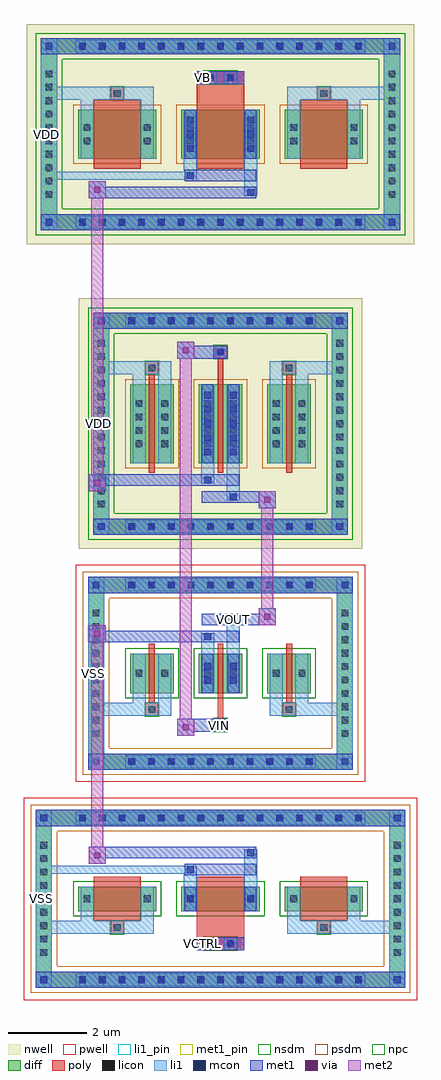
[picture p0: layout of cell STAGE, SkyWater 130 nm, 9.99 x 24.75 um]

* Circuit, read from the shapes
.subckt STAGE VB VCTRL VDD VIN VOUT VSS
XM1 VSS VSS VSS VSUBS sky130_fd_pr__nfet_01v8 w=0.62 l=1.2 m=2
XM2 VSS VSS VSS VSUBS sky130_fd_pr__nfet_01v8 w=1 l=0.15 m=2
XM3 n1 VCTRL VSS VSUBS sky130_fd_pr__nfet_01v8 w=0.62 l=1.2
XM4 VOUT VIN n1 VSUBS sky130_fd_pr__nfet_01v8 w=1 l=0.15
XM5 VDD VDD VDD n2 sky130_fd_pr__pfet_01v8 w=1.24 l=1.2 m=2
XM6 VDD VDD VDD n3 sky130_fd_pr__pfet_01v8 w=2 l=0.15 m=2
XM7 n4 VB VDD n2 sky130_fd_pr__pfet_01v8 w=1.24 l=1.2
XM8 VOUT VIN n4 n3 sky130_fd_pr__pfet_01v8 w=2 l=0.15
.ends

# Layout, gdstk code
import gdstk
lib = gdstk.Library(unit=1e-6, precision=5e-09)
def R(c, l, rs):  # rectangles x0, y0, x1, y1
    for r in rs: c.add(gdstk.rectangle(r[:2], r[2:], *l))
def A(c, l, x, y, w, h, nx, ny, dx, dy):  # array of equal rectangles
    R(c, l, [(x+i*dx, y+j*dy, x+i*dx+w, y+j*dy+h) for i in range(nx) for j in range(ny)])
def P(c, l, *ps):  # polygons
    for p in ps: c.add(gdstk.Polygon(p, *l))
nwell = (64, 20)
pwell = (64, 44)
diff = (65, 20)
poly = (66, 20)
licon = (66, 44)
li1_pin = (67, 16)
li1 = (67, 20)
mcon = (67, 44)
met1_pin = (68, 16)
met1 = (68, 20)
via = (68, 44)
met2 = (69, 20)
nsdm = (93, 44)
psdm = (94, 20)
npc = (95, 20)

stage = lib.new_cell('STAGE')
R(stage, nwell, [(-3.59,8.875,3.59,15.225), (-3.41,9.055,3.41,15.045), (-4.915,16.595,4.915,22.185), (-4.735,16.775,4.735,22.005)])
R(stage, pwell, [(-4.995,-2.565,4.995,2.565), (-3.67,2.965,3.67,8.475)])
A(stage, diff, -3.705, -2.255, 0.41, 0.41, 15, 2, 0.5, 4.1)
A(stage, diff, -4.685, -1.565, 0.41, 0.41, 1, 9, 0, 0.34)
A(stage, diff, 4.275, -1.565, 0.41, 0.41, 1, 9, 0, 0.34)
A(stage, diff, -3.61, -0.31, 1.98, 0.62, 3, 1, 2.62, 0)
A(stage, diff, -2.455, 3.275, 0.41, 0.41, 10, 2, 0.5, 4.48)
A(stage, diff, -3.36, 3.985, 0.41, 0.41, 1, 10, 0, 0.34)
A(stage, diff, 2.95, 3.985, 0.41, 0.41, 1, 10, 0, 0.34)
A(stage, diff, -2.29, 5.22, 1.1, 1, 3, 1, 1.74, 0)
A(stage, diff, -2.455, 9.235, 0.41, 0.41, 10, 2, 0.5, 5.22)
A(stage, diff, -3.23, 9.805, 0.41, 0.41, 1, 13, 0, 0.34)
A(stage, diff, 2.82, 9.805, 0.41, 0.41, 1, 13, 0, 0.34)
A(stage, diff, -2.29, 11.05, 1.1, 2, 3, 1, 1.74, 0)
A(stage, diff, -3.705, 16.955, 0.41, 0.41, 15, 2, 0.5, 4.46)
A(stage, diff, -4.555, 17.655, 0.41, 0.41, 1, 10, 0, 0.34)
A(stage, diff, 4.145, 17.655, 0.41, 0.41, 1, 10, 0, 0.34)
A(stage, diff, -3.61, 18.77, 1.98, 1.24, 3, 1, 2.62, 0)
R(stage, diff, [(-3.705,-2.255,3.705,-1.845), (-4.685,-1.565,-4.275,1.565), (4.275,-1.565,4.685,1.565), (-3.705,1.845,3.705,2.255), (-2.455,3.275,2.455,3.685), (-3.36,3.985,-2.95,7.455), (2.95,3.985,3.36,7.455), (-2.455,7.755,2.455,8.165), (-2.455,9.235,2.455,9.645), (-3.23,9.805,-2.82,14.295), (2.82,9.805,3.23,14.295), (-2.455,14.455,2.455,14.865), (-3.705,16.955,3.705,17.365), (-4.555,17.655,-4.145,21.125), (4.145,17.655,4.555,21.125), (-3.705,21.415,3.705,21.825)])
P(stage, diff, [(4.685,2.255),(-4.685,2.255),(-4.685,-1.845),(-4.275,-1.845),(-4.275,1.845),(4.275,1.845),(4.275,-1.845),(-4.275,-1.845),(-4.685,-1.845),(-4.685,-2.255),(4.685,-2.255)],
  [(4.555,16.955),(-4.555,16.955),(-4.555,21.415),(-4.145,21.415),(-4.145,17.365),(4.145,17.365),(4.145,21.415),(-4.145,21.415),(-4.555,21.415),(-4.555,21.825),(4.555,21.825)],
  [(3.23,9.235),(-3.23,9.235),(-3.23,14.455),(-2.82,14.455),(-2.82,9.645),(2.82,9.645),(2.82,14.455),(-2.82,14.455),(-3.23,14.455),(-3.23,14.865),(3.23,14.865)],
  [(3.36,8.165),(-3.36,8.165),(-3.36,3.685),(-2.95,3.685),(-2.95,7.755),(2.95,7.755),(2.95,3.685),(-2.95,3.685),(-3.36,3.685),(-3.36,3.275),(3.36,3.275)])
A(stage, poly, -3.22, -0.56, 1.2, 1.12, 3, 1, 2.62, 0)
A(stage, poly, -1.815, 4.97, 0.15, 1.5, 3, 1, 1.74, 0)
A(stage, poly, -1.815, 10.8, 0.15, 2.5, 3, 1, 1.74, 0)
A(stage, poly, -3.22, 18.52, 1.2, 1.74, 3, 1, 2.62, 0)
R(stage, poly, [(-0.6,-1.3,0.6,-0.97), (-0.415,-1.3,-0.085,-0.97), (0.085,-1.3,0.415,-0.97), (-0.6,-0.97,0.6,-0.56), (-2.785,-0.89,-2.455,-0.56), (-2.785,-0.89,-2.455,-0.56), (2.455,-0.89,2.785,-0.56), (2.455,-0.89,2.785,-0.56), (-0.165,4.24,0.165,4.57), (-0.165,4.24,0.165,4.57), (-0.075,4.57,0.075,4.97), (-1.905,4.64,-1.575,4.97), (-1.905,4.64,-1.575,4.97), (1.575,4.64,1.905,4.97), (1.575,4.64,1.905,4.97), (-1.905,13.3,-1.575,13.63), (-1.905,13.3,-1.575,13.63), (-0.075,13.3,0.075,13.7), (1.575,13.3,1.905,13.63), (1.575,13.3,1.905,13.63), (-0.165,13.7,0.165,14.03), (-0.165,13.7,0.165,14.03), (-2.785,20.26,-2.455,20.59), (-2.785,20.26,-2.455,20.59), (-0.6,20.26,0.6,20.66), (2.455,20.26,2.785,20.59), (2.455,20.26,2.785,20.59), (-0.6,20.66,0.6,20.99), (-0.415,20.66,-0.085,20.99), (0.085,20.66,0.415,20.99)])
A(stage, licon, -3.585, -2.135, 0.17, 0.17, 15, 2, 0.5, 4.1)
A(stage, licon, -4.565, -1.445, 0.17, 0.17, 1, 9, 0, 0.34)
A(stage, licon, 4.395, -1.445, 0.17, 0.17, 1, 9, 0, 0.34)
A(stage, licon, -2.335, 3.395, 0.17, 0.17, 10, 2, 0.5, 4.48)
A(stage, licon, -3.24, 4.105, 0.17, 0.17, 1, 10, 0, 0.34)
A(stage, licon, 3.07, 4.105, 0.17, 0.17, 1, 10, 0, 0.34)
A(stage, licon, -2.335, 9.355, 0.17, 0.17, 10, 2, 0.5, 5.22)
A(stage, licon, -3.11, 9.925, 0.17, 0.17, 1, 13, 0, 0.34)
A(stage, licon, 2.94, 9.925, 0.17, 0.17, 1, 13, 0, 0.34)
A(stage, licon, -2.15, 11.455, 0.17, 0.17, 1, 4, 0, 0.34)
A(stage, licon, -1.5, 11.455, 0.17, 0.17, 1, 4, 0, 0.34)
A(stage, licon, -0.41, 11.455, 0.17, 0.17, 1, 4, 0, 0.34)
A(stage, licon, 0.24, 11.455, 0.17, 0.17, 1, 4, 0, 0.34)
A(stage, licon, 1.33, 11.455, 0.17, 0.17, 1, 4, 0, 0.34)
A(stage, licon, 1.98, 11.455, 0.17, 0.17, 1, 4, 0, 0.34)
A(stage, licon, -3.585, 17.075, 0.17, 0.17, 15, 2, 0.5, 4.46)
A(stage, licon, -4.435, 17.775, 0.17, 0.17, 1, 10, 0, 0.34)
A(stage, licon, 4.265, 17.775, 0.17, 0.17, 1, 10, 0, 0.34)
R(stage, licon, [(-0.335,-1.22,-0.165,-1.05), (0.165,-1.22,0.335,-1.05), (-2.705,-0.81,-2.535,-0.64), (2.535,-0.81,2.705,-0.64), (-3.47,-0.085,-3.3,0.085), (-1.94,-0.085,-1.77,0.085), (-0.85,-0.085,-0.68,0.085), (0.68,-0.085,0.85,0.085), (1.77,-0.085,1.94,0.085), (3.3,-0.085,3.47,0.085), (-0.085,4.32,0.085,4.49), (-1.825,4.72,-1.655,4.89), (1.655,4.72,1.825,4.89), (-2.15,5.635,-1.98,5.805), (-1.5,5.635,-1.33,5.805), (-0.41,5.635,-0.24,5.805), (0.24,5.635,0.41,5.805), (1.33,5.635,1.5,5.805), (1.98,5.635,2.15,5.805), (-1.825,13.38,-1.655,13.55), (1.655,13.38,1.825,13.55), (-0.085,13.78,0.085,13.95), (-3.47,19.135,-3.3,19.305), (-1.94,19.135,-1.77,19.305), (-0.85,19.135,-0.68,19.305), (0.68,19.135,0.85,19.305), (1.77,19.135,1.94,19.305), (3.3,19.135,3.47,19.305), (-3.47,19.475,-3.3,19.645), (-1.94,19.475,-1.77,19.645), (-0.85,19.475,-0.68,19.645), (0.68,19.475,0.85,19.645), (1.77,19.475,1.94,19.645), (3.3,19.475,3.47,19.645), (-2.705,20.34,-2.535,20.51), (2.535,20.34,2.705,20.51), (-0.335,20.74,-0.165,20.91), (0.165,20.74,0.335,20.91)])
R(stage, li1_pin, [(-4.685,-0.135,-4.415,0.135), (-3.36,5.585,-3.09,5.855), (-3.23,11.915,-2.96,12.185), (-4.555,19.255,-4.285,19.525)])
A(stage, li1, -3.665, -2.215, 0.33, 0.33, 15, 2, 0.5, 4.1)
A(stage, li1, -4.645, -1.525, 0.33, 0.33, 1, 9, 0, 0.34)
A(stage, li1, 4.315, -1.525, 0.33, 0.33, 1, 9, 0, 0.34)
A(stage, li1, -2.415, 3.315, 0.33, 0.33, 10, 2, 0.5, 4.48)
A(stage, li1, -3.32, 4.025, 0.33, 0.33, 1, 10, 0, 0.34)
A(stage, li1, 2.99, 4.025, 0.33, 0.33, 1, 10, 0, 0.34)
A(stage, li1, -2.415, 9.275, 0.33, 0.33, 10, 2, 0.5, 5.22)
A(stage, li1, -3.19, 9.845, 0.33, 0.33, 1, 13, 0, 0.34)
A(stage, li1, 2.86, 9.845, 0.33, 0.33, 1, 13, 0, 0.34)
A(stage, li1, -0.41, 11.245, 0.17, 0.17, 1, 5, 0, 0.36)
A(stage, li1, 0.24, 11.245, 0.17, 0.17, 1, 5, 0, 0.36)
A(stage, li1, -2.23, 11.375, 0.33, 0.33, 1, 4, 0, 0.34)
A(stage, li1, -1.58, 11.375, 0.33, 0.33, 1, 4, 0, 0.34)
A(stage, li1, -0.49, 11.375, 0.33, 0.33, 1, 4, 0, 0.34)
A(stage, li1, 0.16, 11.375, 0.33, 0.33, 1, 4, 0, 0.34)
A(stage, li1, 1.25, 11.375, 0.33, 0.33, 1, 4, 0, 0.34)
A(stage, li1, 1.9, 11.375, 0.33, 0.33, 1, 4, 0, 0.34)
A(stage, li1, -3.665, 16.995, 0.33, 0.33, 15, 2, 0.5, 4.46)
A(stage, li1, -4.515, 17.695, 0.33, 0.33, 1, 10, 0, 0.34)
A(stage, li1, 4.185, 17.695, 0.33, 0.33, 1, 10, 0, 0.34)
A(stage, li1, -0.85, 18.945, 0.17, 0.17, 1, 3, 0, 0.36)
A(stage, li1, 0.68, 18.945, 0.17, 0.17, 1, 3, 0, 0.36)
R(stage, li1, [(-4.685,-2.255,-4.275,-1.845), (4.275,-2.255,4.685,-1.845), (-3.665,-2.215,3.665,-1.885), (-4.565,-2.135,-4.395,-1.965), (-4.565,-2.135,-4.395,-1.965), (4.395,-2.135,4.565,-1.965), (4.395,-2.135,4.565,-1.965), (-4.685,-1.845,-4.275,1.845), (4.275,-1.845,4.685,1.845), (-0.415,-1.3,-0.085,-0.97), (0.085,-1.3,0.415,-0.97), (-4.685,-0.89,-2.785,-0.56), (-3.55,-0.89,-2.785,-0.56), (-3.55,-0.89,-3.22,-0.31), (-2.785,-0.89,-2.455,-0.56), (-2.455,-0.89,-1.69,-0.56), (-2.02,-0.89,-1.69,-0.31), (1.69,-0.89,2.455,-0.56), (1.69,-0.89,2.02,-0.31), (2.455,-0.89,2.785,-0.56), (2.455,-0.89,4.685,-0.56), (2.785,-0.89,3.55,-0.56), (3.22,-0.89,3.55,-0.31), (-3.55,-0.31,-3.22,0.31), (-2.02,-0.31,-1.69,0.31), (-0.93,-0.31,-0.6,0.31), (0.6,-0.31,0.93,0.31), (1.69,-0.31,2.02,0.31), (3.22,-0.31,3.55,0.31), (-3.55,-0.165,-3.22,0.165), (-2.02,-0.165,-1.69,0.165), (-0.93,-0.165,-0.6,0.165), (0.6,-0.165,0.93,0.165), (1.69,-0.165,2.02,0.165), (3.22,-0.165,3.55,0.165), (-0.85,-0.085,-0.68,0.085), (-0.85,-0.085,-0.68,0.085), (0.68,-0.085,0.85,0.085), (0.68,-0.085,0.85,0.085), (-0.93,0.31,-0.6,0.825), (0.6,0.31,0.93,1.255), (-0.91,0.595,-0.62,0.885), (-4.685,0.64,-0.91,0.84), (-0.85,0.655,-0.68,0.825), (-0.85,0.655,-0.68,0.825), (0.68,1.085,0.85,1.255), (-4.685,1.845,-4.275,2.255), (4.275,1.845,4.685,2.255), (-3.665,1.885,3.665,2.215), (-4.565,1.965,-4.395,2.135), (-4.565,1.965,-4.395,2.135), (4.395,1.965,4.565,2.135), (4.395,1.965,4.565,2.135), (-3.36,3.275,-2.95,3.685), (2.95,3.275,3.36,3.685), (-2.415,3.315,2.415,3.645), (-3.24,3.395,-3.07,3.565), (-3.24,3.395,-3.07,3.565), (3.07,3.395,3.24,3.565), (3.07,3.395,3.24,3.565), (-3.36,3.685,-2.95,7.755), (2.95,3.685,3.36,7.755), (-0.165,4.24,0.165,4.57), (-3.36,4.64,-1.905,4.97), (-2.23,4.64,-1.9,5.22), (-2.23,4.64,-1.905,4.97), (-1.905,4.64,-1.575,4.97), (-1.58,4.64,-1.25,5.22), (-1.575,4.64,-1.25,4.97), (1.25,4.64,1.58,5.22), (1.25,4.64,1.575,4.97), (1.575,4.64,1.905,4.97), (1.575,4.64,3.36,4.97), (1.9,4.64,2.23,5.22), (1.905,4.64,2.23,4.97), (-2.23,5.22,-1.9,6.22), (-1.58,5.22,-1.25,6.22), (-0.49,5.22,-0.16,6.22), (0.16,5.22,0.49,6.22), (1.25,5.22,1.58,6.22), (1.9,5.22,2.23,6.22), (-0.41,5.455,-0.24,5.625), (-0.41,5.455,-0.24,5.985), (0.24,5.455,0.41,5.625), (0.24,5.455,0.41,5.985), (-2.23,5.555,-1.9,5.885), (-1.58,5.555,-1.25,5.885), (-0.49,5.555,-0.16,5.885), (0.16,5.555,0.49,5.885), (1.25,5.555,1.58,5.885), (1.9,5.555,2.23,5.885), (-0.41,5.815,-0.24,5.985), (0.24,5.815,0.41,5.985), (-0.49,6.22,-0.16,6.735), (0.16,6.22,0.49,7.165), (-0.41,6.565,-0.24,6.735), (0.24,6.995,0.41,7.165), (-3.36,7.755,-2.95,8.165), (2.95,7.755,3.36,8.165), (-2.415,7.795,2.415,8.125), (-3.24,7.875,-3.07,8.045), (-3.24,7.875,-3.07,8.045), (3.07,7.875,3.24,8.045), (3.07,7.875,3.24,8.045), (-3.23,9.235,-2.82,9.645), (2.82,9.235,3.23,9.645), (-2.415,9.275,2.415,9.605), (-3.11,9.355,-2.94,9.525), (-3.11,9.355,-2.94,9.525), (2.94,9.355,3.11,9.525), (2.94,9.355,3.11,9.525), (-3.23,9.645,-2.82,14.455), (2.82,9.645,3.23,14.455), (0.16,10.105,0.49,11.05), (0.24,10.105,0.41,10.275), (-0.49,10.535,-0.16,11.05), (-0.41,10.535,-0.24,10.705), (-2.23,11.05,-1.9,13.05), (-1.58,11.05,-1.25,13.05), (-0.49,11.05,-0.16,13.05), (0.16,11.05,0.49,13.05), (1.25,11.05,1.58,13.05), (1.9,11.05,2.23,13.05), (-0.41,11.245,-0.24,12.855), (0.24,11.245,0.41,12.855), (-2.23,13.05,-1.9,13.63), (-1.58,13.05,-1.25,13.63), (1.25,13.05,1.58,13.63), (1.9,13.05,2.23,13.63), (-3.23,13.3,-1.905,13.63), (-2.23,13.3,-1.905,13.63), (-1.905,13.3,-1.575,13.63), (-1.575,13.3,-1.25,13.63), (1.25,13.3,1.575,13.63), (1.575,13.3,1.905,13.63), (1.575,13.3,3.23,13.63), (1.905,13.3,2.23,13.63), (-0.165,13.7,0.165,14.03), (-3.23,14.455,-2.82,14.865), (2.82,14.455,3.23,14.865), (-2.415,14.495,2.415,14.825), (-3.11,14.575,-2.94,14.745), (-3.11,14.575,-2.94,14.745), (2.94,14.575,3.11,14.745), (2.94,14.575,3.11,14.745), (-4.555,16.955,-4.145,17.365), (4.145,16.955,4.555,17.365), (-3.665,16.995,3.665,17.325), (-4.435,17.075,-4.265,17.245), (-4.435,17.075,-4.265,17.245), (4.265,17.075,4.435,17.245), (4.265,17.075,4.435,17.245), (-4.555,17.365,-4.145,21.415), (4.145,17.365,4.555,21.415), (0.6,17.825,0.93,18.77), (0.68,17.825,0.85,17.995), (-0.91,18.195,-0.62,18.485), (-4.555,18.24,-0.91,18.44), (-0.93,18.255,-0.6,18.77), (-0.85,18.255,-0.68,18.425), (-0.85,18.255,-0.68,18.425), (-3.55,18.77,-3.22,20.01), (-2.02,18.77,-1.69,20.01), (-0.93,18.77,-0.6,20.01), (0.6,18.77,0.93,20.01), (1.69,18.77,2.02,20.01), (3.22,18.77,3.55,20.01), (-0.85,18.945,-0.68,19.835), (0.68,18.945,0.85,19.835), (-3.55,19.055,-3.22,19.385), (-2.02,19.055,-1.69,19.385), (-0.93,19.055,-0.6,19.385), (0.6,19.055,0.93,19.385), (1.69,19.055,2.02,19.385), (3.22,19.055,3.55,19.385), (-3.55,19.395,-3.22,19.725), (-2.02,19.395,-1.69,19.725), (-0.93,19.395,-0.6,19.725), (0.6,19.395,0.93,19.725), (1.69,19.395,2.02,19.725), (3.22,19.395,3.55,19.725), (-3.55,20.01,-3.22,20.59), (-2.02,20.01,-1.69,20.59), (1.69,20.01,2.02,20.59), (3.22,20.01,3.55,20.59), (-4.555,20.26,-2.785,20.59), (-3.55,20.26,-2.785,20.59), (-2.785,20.26,-2.455,20.59), (-2.455,20.26,-1.69,20.59), (1.69,20.26,2.455,20.59), (2.455,20.26,2.785,20.59), (2.455,20.26,4.555,20.59), (2.785,20.26,3.55,20.59), (-0.415,20.66,-0.085,20.99), (0.085,20.66,0.415,20.99), (-4.555,21.415,-4.145,21.825), (4.145,21.415,4.555,21.825), (-3.665,21.455,3.665,21.785), (-4.435,21.535,-4.265,21.705), (-4.435,21.535,-4.265,21.705), (4.265,21.535,4.435,21.705), (4.265,21.535,4.435,21.705)])
A(stage, mcon, -3.585, -2.135, 0.17, 0.17, 15, 2, 0.5, 4.1)
A(stage, mcon, -2.335, 3.395, 0.17, 0.17, 10, 2, 0.5, 4.48)
A(stage, mcon, -2.335, 9.355, 0.17, 0.17, 10, 2, 0.5, 5.22)
A(stage, mcon, -0.41, 11.245, 0.17, 0.17, 1, 5, 0, 0.36)
A(stage, mcon, 0.24, 11.245, 0.17, 0.17, 1, 5, 0, 0.36)
A(stage, mcon, -3.585, 17.075, 0.17, 0.17, 15, 2, 0.5, 4.46)
A(stage, mcon, -0.85, 18.945, 0.17, 0.17, 1, 3, 0, 0.36)
A(stage, mcon, 0.68, 18.945, 0.17, 0.17, 1, 3, 0, 0.36)
R(stage, mcon, [(-4.565,-2.135,-4.395,-1.965), (4.395,-2.135,4.565,-1.965), (-0.335,-1.22,-0.165,-1.05), (0.165,-1.22,0.335,-1.05), (-0.85,-0.085,-0.68,0.085), (0.68,-0.085,0.85,0.085), (-0.85,0.655,-0.68,0.825), (-0.85,0.655,-0.68,0.825), (0.68,1.085,0.85,1.255), (-4.565,1.965,-4.395,2.135), (4.395,1.965,4.565,2.135), (-3.24,3.395,-3.07,3.565), (3.07,3.395,3.24,3.565), (-0.085,4.32,0.085,4.49), (-0.41,5.455,-0.24,5.625), (0.24,5.455,0.41,5.625), (-0.41,5.815,-0.24,5.985), (0.24,5.815,0.41,5.985), (-0.41,6.565,-0.24,6.735), (0.24,6.995,0.41,7.165), (-3.24,7.875,-3.07,8.045), (3.07,7.875,3.24,8.045), (-3.11,9.355,-2.94,9.525), (2.94,9.355,3.11,9.525), (0.24,10.105,0.41,10.275), (-0.41,10.535,-0.24,10.705), (-0.085,13.78,0.085,13.95), (-3.11,14.575,-2.94,14.745), (2.94,14.575,3.11,14.745), (-4.435,17.075,-4.265,17.245), (4.265,17.075,4.435,17.245), (0.68,17.825,0.85,17.995), (-0.85,18.255,-0.68,18.425), (-0.85,18.255,-0.68,18.425), (-0.335,20.74,-0.165,20.91), (0.165,20.74,0.335,20.91), (-4.435,21.535,-4.265,21.705), (4.265,21.535,4.435,21.705)])
R(stage, met1_pin, [(-0.6,-1.27,-0.33,-1), (-0.165,4.27,0.105,4.54), (0.2,6.945,0.47,7.215), (-0.6,20.69,-0.33,20.96)])
A(stage, met1, -3.645, -2.195, 0.29, 0.29, 15, 2, 0.5, 4.1)
A(stage, met1, -2.395, 3.335, 0.29, 0.29, 10, 2, 0.5, 4.48)
A(stage, met1, -2.395, 9.295, 0.29, 0.29, 10, 2, 0.5, 5.22)
A(stage, met1, -0.47, 11.185, 0.29, 0.29, 1, 5, 0, 0.36)
A(stage, met1, 0.18, 11.185, 0.29, 0.29, 1, 5, 0, 0.36)
A(stage, met1, -3.645, 17.015, 0.29, 0.29, 15, 2, 0.5, 4.46)
A(stage, met1, -0.91, 18.885, 0.29, 0.29, 1, 3, 0, 0.36)
A(stage, met1, 0.62, 18.885, 0.29, 0.29, 1, 3, 0, 0.36)
R(stage, met1, [(-4.685,-2.255,-4.275,-1.845), (-4.685,-2.255,-4.275,-1.845), (-4.275,-2.255,4.275,-1.845), (4.275,-2.255,4.685,-1.845), (4.275,-2.255,4.685,-1.845), (-4.625,-2.195,-4.335,-1.905), (4.335,-2.195,4.625,-1.905), (-0.6,-1.3,0.6,-0.97), (-0.395,-1.28,-0.105,-0.99), (0.105,-1.28,0.395,-0.99), (-0.91,-0.31,-0.62,0.31), (0.62,-0.31,0.91,0.31), (-0.91,-0.145,-0.62,0.145), (0.62,-0.145,0.91,0.145), (-0.91,0.595,-0.62,0.885), (-0.91,0.595,-0.62,0.885), (-0.91,0.595,0.91,0.885), (-3.34,0.885,-2.91,1.315), (-3.34,1.025,-0.91,1.315), (-0.91,1.025,0.91,1.315), (0.62,1.025,0.91,1.315), (-4.685,1.845,-4.275,2.255), (-4.685,1.845,-4.275,2.255), (-4.275,1.845,4.275,2.255), (4.275,1.845,4.685,2.255), (4.275,1.845,4.685,2.255), (-4.625,1.905,-4.335,2.195), (4.335,1.905,4.625,2.195), (-3.36,3.275,-2.95,3.685), (-3.36,3.275,-2.95,3.685), (-2.95,3.275,2.95,3.685), (2.95,3.275,3.36,3.685), (2.95,3.275,3.36,3.685), (-3.3,3.335,-3.01,3.625), (3.01,3.335,3.3,3.625), (-1.095,4.14,-0.665,4.57), (-1.095,4.24,-0.165,4.57), (-0.165,4.24,0.165,4.57), (-0.145,4.26,0.145,4.55), (-0.47,5.22,-0.18,6.22), (0.18,5.22,0.47,6.22), (-0.47,5.395,-0.18,5.685), (0.18,5.395,0.47,5.685), (-0.47,5.755,-0.18,6.045), (0.18,5.755,0.47,6.045), (-3.34,6.505,-0.47,6.795), (-3.34,6.505,-2.91,6.935), (-0.47,6.505,-0.18,6.795), (-0.47,6.505,0.47,6.795), (-0.47,6.935,0.47,7.225), (0.18,6.935,0.47,7.225), (0.47,6.935,1.4,7.225), (0.97,6.935,1.4,7.365), (-3.36,7.755,-2.95,8.165), (-3.36,7.755,-2.95,8.165), (-2.95,7.755,2.95,8.165), (2.95,7.755,3.36,8.165), (2.95,7.755,3.36,8.165), (-3.3,7.815,-3.01,8.105), (3.01,7.815,3.3,8.105), (-3.23,9.235,-2.82,9.645), (-3.23,9.235,-2.82,9.645), (-2.82,9.235,2.82,9.645), (2.82,9.235,3.23,9.645), (2.82,9.235,3.23,9.645), (-3.17,9.295,-2.88,9.585), (2.88,9.295,3.17,9.585), (0.97,9.905,1.4,10.335), (-0.47,10.045,0.47,10.335), (0.18,10.045,0.47,10.335), (0.47,10.045,1.4,10.335), (-3.34,10.335,-2.91,10.765), (-3.34,10.475,-0.47,10.765), (-0.47,10.475,-0.18,10.765), (-0.47,10.475,0.47,10.765), (-0.47,11.05,-0.18,13.05), (0.18,11.05,0.47,13.05), (-1.095,13.7,-0.665,14.13), (-1.095,13.7,-0.165,14.03), (-0.165,13.7,0.165,14.03), (-0.145,13.72,0.145,14.01), (-3.23,14.455,-2.82,14.865), (-3.23,14.455,-2.82,14.865), (-2.82,14.455,2.82,14.865), (2.82,14.455,3.23,14.865), (2.82,14.455,3.23,14.865), (-3.17,14.515,-2.88,14.805), (2.88,14.515,3.17,14.805), (-4.555,16.955,-4.145,17.365), (-4.555,16.955,-4.145,17.365), (-4.145,16.955,4.145,17.365), (4.145,16.955,4.555,17.365), (4.145,16.955,4.555,17.365), (-4.495,17.015,-4.205,17.305), (4.205,17.015,4.495,17.305), (-3.34,17.765,-2.91,18.195), (-3.34,17.765,-0.91,18.055), (-0.91,17.765,0.91,18.055), (0.62,17.765,0.91,18.055), (-0.91,18.195,-0.62,18.485), (-0.91,18.195,-0.62,18.485), (-0.91,18.195,0.91,18.485), (-0.91,18.77,-0.62,20.01), (0.62,18.77,0.91,20.01), (-0.6,20.66,0.6,20.99), (-0.395,20.68,-0.105,20.97), (0.105,20.68,0.395,20.97), (-4.555,21.415,-4.145,21.825), (-4.555,21.415,-4.145,21.825), (-4.145,21.415,4.145,21.825), (4.145,21.415,4.555,21.825), (4.145,21.415,4.555,21.825), (-4.495,21.475,-4.205,21.765), (4.205,21.475,4.495,21.765)])
R(stage, via, [(-3.2,1.025,-3.05,1.175), (-0.955,4.28,-0.805,4.43), (-3.2,6.645,-3.05,6.795), (1.11,7.075,1.26,7.225), (1.11,10.045,1.26,10.195), (-3.2,10.475,-3.05,10.625), (-0.955,13.84,-0.805,13.99), (-3.2,17.905,-3.05,18.055)])
R(stage, met2, [(-3.34,0.885,-2.91,1.315), (-3.275,0.885,-2.975,6.935), (-2.975,0.885,-2.91,1.315), (-3.29,0.935,-2.96,1.265), (-1.095,4.14,-0.665,4.57), (-1.03,4.14,-0.73,14.13), (-0.73,4.14,-0.665,4.57), (-1.045,4.19,-0.715,4.52), (-3.34,6.505,-2.91,6.935), (-2.975,6.505,-2.91,6.935), (-3.29,6.555,-2.96,6.885), (0.97,6.935,1.4,7.365), (1.035,6.935,1.335,10.335), (1.335,6.935,1.4,7.365), (1.02,6.985,1.35,7.315), (0.97,9.905,1.4,10.335), (1.335,9.905,1.4,10.335), (1.02,9.955,1.35,10.285), (-3.34,10.335,-2.91,10.765), (-3.275,10.335,-2.975,18.195), (-2.975,10.335,-2.91,10.765), (-3.29,10.385,-2.96,10.715), (-1.095,13.7,-0.665,14.13), (-0.73,13.7,-0.665,14.13), (-1.045,13.75,-0.715,14.08), (-3.34,17.765,-2.91,18.195), (-2.975,17.765,-2.91,18.195), (-3.29,17.815,-2.96,18.145)])
A(stage, nsdm, -3.74, -0.44, 2.24, 0.88, 3, 1, 2.62, 0)
A(stage, nsdm, -2.42, 5.09, 1.36, 1.26, 3, 1, 1.74, 0)
P(stage, nsdm, [(4.685,16.825),(-4.685,16.825),(-4.685,21.285),(-4.015,21.285),(-4.015,17.495),(4.015,17.495),(4.015,21.285),(-4.015,21.285),(-4.685,21.285),(-4.685,21.955),(4.685,21.955)],
  [(3.36,9.105),(-3.36,9.105),(-3.36,14.325),(-2.69,14.325),(-2.69,9.775),(2.69,9.775),(2.69,14.325),(-2.69,14.325),(-3.36,14.325),(-3.36,14.995),(3.36,14.995)])
A(stage, psdm, -2.42, 10.92, 1.36, 2.26, 3, 1, 1.74, 0)
A(stage, psdm, -3.74, 18.64, 2.24, 1.5, 3, 1, 2.62, 0)
P(stage, psdm, [(4.815,2.385),(-4.815,2.385),(-4.815,-1.715),(-4.145,-1.715),(-4.145,1.715),(4.145,1.715),(4.145,-1.715),(-4.145,-1.715),(-4.815,-1.715),(-4.815,-2.385),(4.815,-2.385)],
  [(3.49,8.295),(-3.49,8.295),(-3.49,3.815),(-2.82,3.815),(-2.82,7.625),(2.82,7.625),(2.82,3.815),(-2.82,3.815),(-3.49,3.815),(-3.49,3.145),(3.49,3.145)])
R(stage, npc, [(-0.435,-1.32,-0.065,-0.95), (-0.435,-1.32,0.435,-0.95), (-0.435,-1.32,0.435,-0.95), (0.065,-1.32,0.435,-0.95), (-2.805,-0.91,-2.435,-0.54), (2.435,-0.91,2.805,-0.54), (-0.185,4.22,0.185,4.59), (-1.925,4.62,-1.555,4.99), (1.555,4.62,1.925,4.99), (-1.925,13.28,-1.555,13.65), (1.555,13.28,1.925,13.65), (-0.185,13.68,0.185,14.05), (-2.805,20.24,-2.435,20.61), (2.435,20.24,2.805,20.61), (-0.435,20.64,-0.065,21.01), (-0.435,20.64,0.435,21.01), (-0.435,20.64,0.435,21.01), (0.065,20.64,0.435,21.01)])
stage.add(gdstk.Label('VIN', (-0.03,4.405), layer=68, texttype=5))
stage.add(gdstk.Label('VOUT', (0.335,7.08), layer=68, texttype=5))
stage.add(gdstk.Label('VCTRL', (-0.465,-1.135), layer=68, texttype=5))
stage.add(gdstk.Label('VB', (-0.465,20.825), layer=68, texttype=5))
stage.add(gdstk.Label('VSS', (-4.55,0), layer=67, texttype=5))
stage.add(gdstk.Label('VSS', (-3.225,5.72), layer=67, texttype=5))
stage.add(gdstk.Label('VDD', (-4.42,19.39), layer=67, texttype=5))
stage.add(gdstk.Label('VDD', (-3.095,12.05), layer=67, texttype=5))

lib.write_gds('STAGE.gds')
